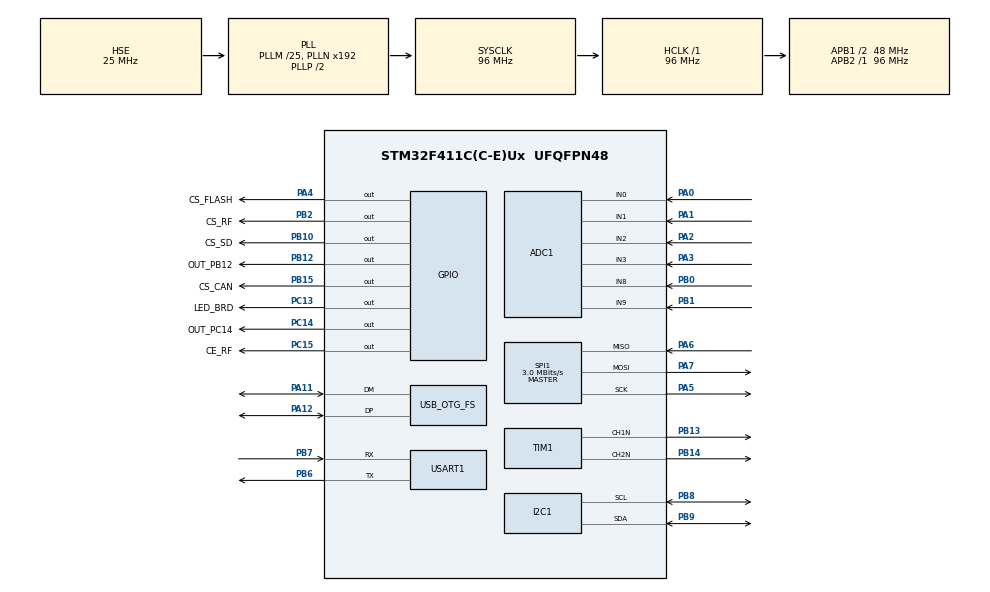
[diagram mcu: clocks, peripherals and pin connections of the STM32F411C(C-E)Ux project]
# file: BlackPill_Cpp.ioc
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ADC1.Channel-0\#ChannelRegularConversion=ADC_CHANNEL_0
ADC1.Channel-1\#ChannelRegularConversion=ADC_CHANNEL_1
ADC1.Channel-2\#ChannelRegularConversion=ADC_CHANNEL_2
ADC1.Channel-3\#ChannelRegularConversion=ADC_CHANNEL_3
ADC1.Channel-4\#ChannelRegularConversion=ADC_CHANNEL_8
ADC1.Channel-5\#ChannelRegularConversion=ADC_CHANNEL_9
ADC1.Channel-6\#ChannelRegularConversion=ADC_CHANNEL_VBAT
ADC1.InjNumberOfConversion=0
ADC1.NbrOfConversion=7
ADC1.NbrOfConversionFlag=1
ADC1.Rank-0\#ChannelRegularConversion=1
ADC1.Rank-1\#ChannelRegularConversion=2
ADC1.Rank-2\#ChannelRegularConversion=3
ADC1.Rank-3\#ChannelRegularConversion=4
ADC1.Rank-4\#ChannelRegularConversion=5
ADC1.Rank-5\#ChannelRegularConversion=6
ADC1.Rank-6\#ChannelRegularConversion=7
ADC1.SamplingTime-0\#ChannelRegularConversion=ADC_SAMPLETIME_28CYCLES
ADC1.SamplingTime-1\#ChannelRegularConversion=ADC_SAMPLETIME_28CYCLES
ADC1.SamplingTime-2\#ChannelRegularConversion=ADC_SAMPLETIME_28CYCLES
ADC1.SamplingTime-3\#ChannelRegularConversion=ADC_SAMPLETIME_28CYCLES
ADC1.SamplingTime-4\#ChannelRegularConversion=ADC_SAMPLETIME_28CYCLES
ADC1.SamplingTime-5\#ChannelRegularConversion=ADC_SAMPLETIME_28CYCLES
ADC1.SamplingTime-6\#ChannelRegularConversion=ADC_SAMPLETIME_84CYCLES
ADC1.master=1
Dma.ADC1.0.Direction=DMA_PERIPH_TO_MEMORY
Dma.ADC1.0.FIFOMode=DMA_FIFOMODE_DISABLE
Dma.ADC1.0.Instance=DMA2_Stream4
Dma.ADC1.0.MemDataAlignment=DMA_MDATAALIGN_HALFWORD
Dma.ADC1.0.MemInc=DMA_MINC_ENABLE
Dma.ADC1.0.Mode=DMA_CIRCULAR
Dma.ADC1.0.PeriphDataAlignment=DMA_PDATAALIGN_HALFWORD
Dma.ADC1.0.PeriphInc=DMA_PINC_DISABLE
Dma.ADC1.0.Priority=DMA_PRIORITY_MEDIUM
Dma.Request0=ADC1
Dma.Request1=USART1_RX
Dma.Request2=USART1_TX
Dma.Request3=SPI1_TX
Dma.Request4=SPI1_RX
Dma.SPI1_RX.4.Direction=DMA_PERIPH_TO_MEMORY
Dma.SPI1_RX.4.FIFOMode=DMA_FIFOMODE_DISABLE
Dma.SPI1_RX.4.Instance=DMA2_Stream0
Dma.SPI1_RX.4.MemDataAlignment=DMA_MDATAALIGN_BYTE
Dma.SPI1_RX.4.MemInc=DMA_MINC_ENABLE
Dma.SPI1_RX.4.Mode=DMA_NORMAL
Dma.SPI1_RX.4.PeriphDataAlignment=DMA_PDATAALIGN_BYTE
Dma.SPI1_RX.4.PeriphInc=DMA_PINC_DISABLE
Dma.SPI1_RX.4.Priority=DMA_PRIORITY_LOW
Dma.SPI1_TX.3.Direction=DMA_MEMORY_TO_PERIPH
Dma.SPI1_TX.3.FIFOMode=DMA_FIFOMODE_DISABLE
Dma.SPI1_TX.3.Instance=DMA2_Stream3
Dma.SPI1_TX.3.MemDataAlignment=DMA_MDATAALIGN_BYTE
Dma.SPI1_TX.3.MemInc=DMA_MINC_ENABLE
Dma.SPI1_TX.3.Mode=DMA_NORMAL
Dma.SPI1_TX.3.PeriphDataAlignment=DMA_PDATAALIGN_BYTE
Dma.SPI1_TX.3.PeriphInc=DMA_PINC_DISABLE
Dma.SPI1_TX.3.Priority=DMA_PRIORITY_LOW
Dma.USART1_RX.1.Direction=DMA_PERIPH_TO_MEMORY
Dma.USART1_RX.1.FIFOMode=DMA_FIFOMODE_DISABLE
Dma.USART1_RX.1.Instance=DMA2_Stream2
Dma.USART1_RX.1.MemDataAlignment=DMA_MDATAALIGN_BYTE
Dma.USART1_RX.1.MemInc=DMA_MINC_ENABLE
Dma.USART1_RX.1.Mode=DMA_NORMAL
Dma.USART1_RX.1.PeriphDataAlignment=DMA_PDATAALIGN_BYTE
Dma.USART1_RX.1.PeriphInc=DMA_PINC_DISABLE
Dma.USART1_RX.1.Priority=DMA_PRIORITY_HIGH
Dma.USART1_TX.2.Direction=DMA_MEMORY_TO_PERIPH
Dma.USART1_TX.2.FIFOMode=DMA_FIFOMODE_DISABLE
Dma.USART1_TX.2.Instance=DMA2_Stream7
Dma.USART1_TX.2.MemDataAlignment=DMA_MDATAALIGN_BYTE
Dma.USART1_TX.2.MemInc=DMA_MINC_ENABLE
Dma.USART1_TX.2.Mode=DMA_NORMAL
Dma.USART1_TX.2.PeriphDataAlignment=DMA_PDATAALIGN_BYTE
Dma.USART1_TX.2.PeriphInc=DMA_PINC_DISABLE
Dma.USART1_TX.2.Priority=DMA_PRIORITY_LOW
FREERTOS.Events01=eventEspReceive,Static,myEvent01ControlBlock
FREERTOS.Tasks01=Taks10ms,24,128,StartTask10ms,Default,NULL,Static,Taks10msBuffer,Taks10msControlBlock;Task100ms,24,128,StartTask100ms,Default,NULL,Static,Task100msBuffer,Task100msControlBlock;TaskAsync,8,128,StartTaskAsync,Default,NULL,Static,TaskAsyncBuffer,TaskAsyncControlBlock
FREERTOS.configUSE_NEWLIB_REENTRANT=0
Mcu.Family=STM32F4
Mcu.Name=STM32F411C(C-E)Ux
Mcu.Package=UFQFPN48
Mcu.UserConstants=ESP_AT_REPORT_EVENT_FLAG_MASK,0x00000001uL;USB_EVENT_FLAG_MASK,0x00000004uL;ESP_AT_RESPONSE_EVENT_FLAG_MASK,0x00000002uL
NVIC.DMA2_Stream0_IRQn=true\:5\:0\:false\:false\:true\:true\:false\:true\:true
NVIC.DMA2_Stream2_IRQn=true\:5\:0\:false\:false\:true\:true\:false\:true\:true
NVIC.DMA2_Stream3_IRQn=true\:5\:0\:false\:false\:true\:true\:false\:true\:true
NVIC.DMA2_Stream4_IRQn=true\:5\:0\:false\:false\:true\:true\:false\:true\:true
NVIC.DMA2_Stream7_IRQn=true\:5\:0\:false\:false\:true\:true\:false\:true\:true
NVIC.OTG_FS_IRQn=true\:5\:0\:false\:false\:true\:true\:false\:true\:true
NVIC.PriorityGroup=NVIC_PRIORITYGROUP_4
NVIC.TIM1_UP_TIM10_IRQn=true\:15\:0\:false\:false\:true\:false\:false\:true\:true
NVIC.TimeBase=TIM1_UP_TIM10_IRQn
NVIC.TimeBaseIP=TIM10
NVIC.USART1_IRQn=true\:5\:0\:false\:false\:true\:true\:true\:true\:true
PA0-WKUP.Signal=ADCx_IN0
PA1.Signal=ADCx_IN1
PA11.Mode=Device_Only
PA11.Signal=USB_OTG_FS_DM
PA12.Mode=Device_Only
PA12.Signal=USB_OTG_FS_DP
PA13.Mode=Serial_Wire
PA13.Signal=SYS_JTMS-SWDIO
PA14.Mode=Serial_Wire
PA14.Signal=SYS_JTCK-SWCLK
PA2.Signal=ADCx_IN2
PA3.Signal=ADCx_IN3
PA4.GPIO_Label=CS_FLASH
PA4.PinState=GPIO_PIN_SET
PA4.Signal=GPIO_Output
PA5.Mode=Full_Duplex_Master
PA5.Signal=SPI1_SCK
PA6.Mode=Full_Duplex_Master
PA6.Signal=SPI1_MISO
PA7.Mode=Full_Duplex_Master
PA7.Signal=SPI1_MOSI
PB0.Signal=ADCx_IN8
PB1.Signal=ADCx_IN9
PB10.GPIO_Label=CS_SD
PB10.PinState=GPIO_PIN_SET
PB10.Signal=GPIO_Output
PB12.GPIO_Label=OUT_PB12
PB12.PinState=GPIO_PIN_RESET
PB12.Signal=GPIO_Output
PB13.Mode=PWM Generation1 CH1N
PB13.Signal=TIM1_CH1N
PB14.Mode=PWM Generation2 CH2N
PB14.Signal=TIM1_CH2N
PB15.GPIO_Label=CS_CAN
PB15.PinState=GPIO_PIN_SET
PB15.Signal=GPIO_Output
PB2.GPIO_Label=CS_RF
PB2.PinState=GPIO_PIN_SET
PB2.Signal=GPIO_Output
PB6.Mode=Asynchronous
PB6.Signal=USART1_TX
PB7.Mode=Asynchronous
PB7.Signal=USART1_RX
PB8.Mode=I2C
PB8.Signal=I2C1_SCL
PB9.Mode=I2C
PB9.Signal=I2C1_SDA
PC13-ANTI_TAMP.GPIO_Label=LED_BRD
PC13-ANTI_TAMP.Signal=GPIO_Output
PC14-OSC32_IN.GPIO_Label=OUT_PC14
PC14-OSC32_IN.Signal=GPIO_Output
PC15-OSC32_OUT.GPIO_Label=CE_RF
PC15-OSC32_OUT.Signal=GPIO_Output
PH0\ -\ OSC_IN.Mode=HSE-External-Oscillator
PH0\ -\ OSC_IN.Signal=RCC_OSC_IN
PH1\ -\ OSC_OUT.Mode=HSE-External-Oscillator
PH1\ -\ OSC_OUT.Signal=RCC_OSC_OUT
ProjectManager.HeapSize=0x400
ProjectManager.StackSize=0x800
ProjectManager.TargetToolchain=CMake
RCC.48MHZClocksFreq_Value=48000000
RCC.AHBFreq_Value=96000000
RCC.APB1CLKDivider=RCC_HCLK_DIV2
RCC.APB1Freq_Value=48000000
RCC.APB1TimFreq_Value=96000000
RCC.APB2Freq_Value=96000000
RCC.APB2TimFreq_Value=96000000
RCC.CortexFreq_Value=96000000
RCC.HCLKFreq_Value=96000000
RCC.HSE_VALUE=25000000
RCC.HSI_VALUE=16000000
RCC.LSE_VALUE=32768
RCC.PLLM=25
RCC.SYSCLKFreq_VALUE=96000000
RCC.SYSCLKSource=RCC_SYSCLKSOURCE_PLLCLK
RCC.VCOOutputFreq_Value=192000000
SH.ADCx_IN0.0=ADC1_IN0,IN0
SH.ADCx_IN1.0=ADC1_IN1,IN1
SH.ADCx_IN2.0=ADC1_IN2,IN2
SH.ADCx_IN3.0=ADC1_IN3,IN3
SH.ADCx_IN8.0=ADC1_IN8,IN8
SH.ADCx_IN9.0=ADC1_IN9,IN9
SPI1.BaudRatePrescaler=SPI_BAUDRATEPRESCALER_32
SPI1.CalculateBaudRate=3.0 MBits/s
SPI1.Direction=SPI_DIRECTION_2LINES
SPI1.Mode=SPI_MODE_MASTER
SPI1.VirtualType=VM_MASTER
TIM1.Channel-PWM\ Generation1\ CH1N=TIM_CHANNEL_1
TIM1.Channel-PWM\ Generation2\ CH2N=TIM_CHANNEL_2
USART1.VirtualMode=VM_ASYNC
USB_DEVICE.CLASS_NAME_FS=CDC
USB_DEVICE.VirtualMode=Cdc
USB_DEVICE.VirtualModeFS=Cdc_FS
USB_OTG_FS.VirtualMode=Device_Only
VP_ADC1_Vbat_Input.Mode=IN-Vbat
VP_FREERTOS_VS_CMSIS_V2.Mode=CMSIS_V2
VP_RTC_VS_RTC_Activate.Mode=RTC_Enabled
VP_RTC_VS_RTC_Calendar.Mode=RTC_Calendar
VP_SYS_VS_tim10.Mode=TIM10
VP_TIM1_VS_ClockSourceINT.Mode=Internal
VP_USB_DEVICE_VS_USB_DEVICE_CDC_FS.Mode=CDC_FS
board=custom

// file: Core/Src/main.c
/* USER CODE BEGIN Header */
/**
  ******************************************************************************
  * @file           : main.c
  * @brief          : Main program body
  ******************************************************************************
  * @attention
  *
  * Copyright (c) 2023 STMicroelectronics.
  * All rights reserved.
  *
  * This software is licensed under terms that can be found in the LICENSE file
  * in the root directory of this software component.
  * If no LICENSE file comes with this software, it is provided AS-IS.
  *
  ******************************************************************************
  */
/* USER CODE END Header */
#include "main.h"
#include "cmsis_os.h"
#include "usb_device.h"

/* USER CODE BEGIN Includes */
#include "mcp23s17.h"
#include "pca9685pw.h"
#include "max30100.h"
#include "esp8266_at.h"
#include <string.h>
#include "bme280.h"
#include "flash.h"
#include "usb_device.h"
#include "usbd_cdc_if.h"
#include "pc_uart_handler.h"
#include "ds1307.h"
#include "mcp2515.h"
//#include "spi_module.h"
#include "nrf24l01.h"
/* USER CODE END Includes */

typedef StaticTask_t osStaticThreadDef_t;
typedef StaticEventGroup_t osStaticEventGroupDef_t;

/* USER CODE BEGIN PM */
#define ESP_UART_DMA_BUFFER_SIZE 1024u
#define ESP_RX_BUFFER_SIZE       4096u

//#define ESP_EVENT_FLAG_MASK   0x00000001uL
/* USER CODE END PM */

ADC_HandleTypeDef hadc1;
DMA_HandleTypeDef hdma_adc1;

I2C_HandleTypeDef hi2c1;

RTC_HandleTypeDef hrtc;

SPI_HandleTypeDef hspi1;
DMA_HandleTypeDef hdma_spi1_tx;
DMA_HandleTypeDef hdma_spi1_rx;

TIM_HandleTypeDef htim1;

UART_HandleTypeDef huart1;
DMA_HandleTypeDef hdma_usart1_rx;
DMA_HandleTypeDef hdma_usart1_tx;

/* Definitions for Taks10ms */
osThreadId_t Taks10msHandle;
uint32_t Taks10msBuffer[ 128 ];
osStaticThreadDef_t Taks10msControlBlock;
const osThreadAttr_t Taks10ms_attributes = {
  .name = "Taks10ms",
  .cb_mem = &Taks10msControlBlock,
  .cb_size = sizeof(Taks10msControlBlock),
  .stack_mem = &Taks10msBuffer[0],
  .stack_size = sizeof(Taks10msBuffer),
  .priority = (osPriority_t) osPriorityNormal,
};
/* Definitions for Task100ms */
osThreadId_t Task100msHandle;
uint32_t Task100msBuffer[ 128 ];
osStaticThreadDef_t Task100msControlBlock;
const osThreadAttr_t Task100ms_attributes = {
  .name = "Task100ms",
  .cb_mem = &Task100msControlBlock,
  .cb_size = sizeof(Task100msControlBlock),
  .stack_mem = &Task100msBuffer[0],
  .stack_size = sizeof(Task100msBuffer),
  .priority = (osPriority_t) osPriorityNormal,
};
/* Definitions for TaskAsync */
osThreadId_t TaskAsyncHandle;
uint32_t TaskAsyncBuffer[ 128 ];
osStaticThreadDef_t TaskAsyncControlBlock;
const osThreadAttr_t TaskAsync_attributes = {
  .name = "TaskAsync",
  .cb_mem = &TaskAsyncControlBlock,
  .cb_size = sizeof(TaskAsyncControlBlock),
  .stack_mem = &TaskAsyncBuffer[0],
  .stack_size = sizeof(TaskAsyncBuffer),
  .priority = (osPriority_t) osPriorityLow,
};
/* Definitions for eventEspReceive */
osEventFlagsId_t eventEspReceiveHandle;
osStaticEventGroupDef_t myEvent01ControlBlock;
const osEventFlagsAttr_t eventEspReceive_attributes = {
  .name = "eventEspReceive",
  .cb_mem = &myEvent01ControlBlock,
  .cb_size = sizeof(myEvent01ControlBlock),
};
/* USER CODE BEGIN PV */

PCA9685_Handler_t LedDriverHandle = { .ptrHI2c = &hi2c1, .portOE = OUT_PB12_GPIO_Port, .pinOE = OUT_PB12_Pin, .Address = 0x80u };

MCP2515_Handler_t MCP2515Handle = { .ptrHSpi = &hspi1, .portCS = CS_CAN_GPIO_Port, .pinCS = CS_CAN_Pin };

DS1307_Handler_t  DS1307_Handle = { .ptrHI2c = &hi2c1, .Address = 0xD0u };
DS1307_TimeDate_t DS1307_InitDateTime = { .Seconds = 0u, .Minutes = 0x37u, .Hours = 0x09u, .Day = 6u, .Date = 4u, .Month = 3u, .Year = 0x23u };
DS1307_TimeDate_t DS1307_DateTime;

FLASH_Handler_t FlashHandler;

NRF24L01_Handler_t RFHandler =
{
  .ptrHSpi = &hspi1,
  .portCS  = CS_RF_GPIO_Port,
  .pinCS   = CS_RF_Pin,
  .portCE  = CE_RF_GPIO_Port,
  .pinCE   = CE_RF_Pin
};

uint8_t EspDmaBuffer[ESP_UART_DMA_BUFFER_SIZE];
uint8_t EspRxBuffer[ESP_RX_BUFFER_SIZE];

uint16_t oldPos = 0;
uint16_t newPos = 0;

bool  ESP_ResponseOK = 0u;
bool  ESP_MessageReceived = false;

volatile uint16_t ADC_RawData[7u] = {0u};
float ADC_Voltage[7u];

uint8_t UsbCdcRxBuffer[256u];
uint8_t UsbCdcTxBuffer[256u];

/* USER CODE END PV */

void SystemClock_Config(void);
static void MX_GPIO_Init(void);
static void MX_DMA_Init(void);
static void MX_ADC1_Init(void);
static void MX_SPI1_Init(void);
static void MX_I2C1_Init(void);
static void MX_USART1_UART_Init(void);
static void MX_TIM1_Init(void);
static void MX_RTC_Init(void);
void StartTask10ms(void *argument);
void StartTask100ms(void *argument);
void StartTaskAsync(void *argument);

/* USER CODE BEGIN 0 */
void HAL_UARTEx_RxEventCallback(UART_HandleTypeDef *huart, uint16_t Size)
{
  ESP_ResponseOK = false;
  if (huart->Instance == USART1)
  {
    /* Check if it is an OK: dont need to copy, just set the acknowledge flag  */
    if( !(strncmp((const char*)EspDmaBuffer, "\r\nOK\r\n", 6)) )
    {
      ESP_ResponseOK = true;
      ESP8266_SetOkResponseFlag(true);
    }
    else
    {
      oldPos = newPos;  // Update the last position before copying new data

      /* If the data in large and it is about to exceed the buffer size, we have to route it to the start of the buffer
       * This is to maintain the circular buffer
       * The old data in the main buffer will be overlapped
       */
      if (oldPos+Size > ESP_RX_BUFFER_SIZE)  // If the current position + new data size is greater than the main buffer
      {
        uint16_t datatocopy = ESP_RX_BUFFER_SIZE-oldPos;  // find out how much space is left in the main buffer
        memcpy ((uint8_t *)EspRxBuffer+oldPos, EspDmaBuffer, datatocopy);  // copy data in that remaining space

        oldPos = 0;  // point to the start of the buffer
        memcpy ((uint8_t *)EspRxBuffer, (uint8_t *)EspDmaBuffer+datatocopy, (Size-datatocopy));  // copy the remaining data
        newPos = (Size-datatocopy);  // update the position
      }

      /* if the current position + new data size is less than the main buffer
       * we will simply copy the data into the buffer and update the position
       */
      else
      {
        memcpy ((uint8_t *)EspRxBuffer+oldPos, EspDmaBuffer, Size);
        newPos = Size+oldPos;
      }
    }

    /* start the DMA again */
    HAL_UARTEx_ReceiveToIdle_DMA(&huart1, (uint8_t *) EspDmaBuffer, ESP_UART_DMA_BUFFER_SIZE);
    __HAL_DMA_DISABLE_IT(&hdma_usart1_rx, DMA_IT_HT);
    __HAL_DMA_DISABLE_IT(&hdma_usart1_tx, DMA_IT_HT);

    if( ESP_ResponseOK == false )
    {
      ESP_MessageReceived = true;
      if( ESP8266_GetLastAtCmd() != ESP8266_CMD_ID_NONE )
      {
        osEventFlagsSet(eventEspReceiveHandle, ESP_AT_RESPONSE_EVENT_FLAG_MASK);
      }
      else
      {
        osEventFlagsSet(eventEspReceiveHandle, ESP_AT_REPORT_EVENT_FLAG_MASK);
      }
    }
  }
}

#if (HAL_SPI_DMA == 1)
void HAL_SPI_TxCpltCallback(SPI_HandleTypeDef * hspi)
{
  HAL_GPIO_WritePin(OUT_PC14_GPIO_Port, OUT_PC14_Pin, GPIO_PIN_SET);
}

void HAL_SPI_RxCpltCallback(SPI_HandleTypeDef *hspi)
{
  HAL_GPIO_WritePin(OUT_PC14_GPIO_Port, OUT_PC14_Pin, GPIO_PIN_SET);
}

void HAL_SPI_TxRxCpltCallback(SPI_HandleTypeDef *hspi)
{
  HAL_GPIO_WritePin(OUT_PC14_GPIO_Port, OUT_PC14_Pin, GPIO_PIN_SET);
}
#endif
/* USER CODE END 0 */

int main(void)
{

  /* MCU Configuration--------------------------------------------------------*/

  /* Reset of all peripherals, Initializes the Flash interface and the Systick. */
  HAL_Init();

  /* Configure the system clock */
  SystemClock_Config();

  /* Initialize all configured peripherals */
  MX_GPIO_Init();
  MX_DMA_Init();
  MX_ADC1_Init();
  MX_SPI1_Init();
  MX_I2C1_Init();
  MX_USART1_UART_Init();
  MX_TIM1_Init();
  MX_RTC_Init();
  /* USER CODE BEGIN 2 */

  //DS1307_Init(&DS1307_Handle, &DS1307_InitDateTime);
  BME280_Detect();
  BME280_StartMeasurement(Oversampling1, Oversampling1, Oversampling1);
  MAX30100_Init();
  PCA9685_ReadModeRegs(&LedDriverHandle);
  NRF24L01_Init(&RFHandler);
  //MCP2515_Init(&MCP2515Handle);
#if (USE_SPI_MODULE == 1)
  SPIMODULE_Init(&hspi1, OUT_PC14_GPIO_Port, OUT_PC14_Pin );
#endif
  //ESP8266_Init(&huart1, EspRxBuffer);
  HAL_Delay(10u);
  HAL_UARTEx_ReceiveToIdle_DMA(&huart1, EspDmaBuffer, ESP_UART_DMA_BUFFER_SIZE);
  __HAL_DMA_DISABLE_IT(&hdma_usart1_rx, DMA_IT_HT);
  __HAL_DMA_DISABLE_IT(&hdma_usart1_tx, DMA_IT_HT);
  __HAL_DMA_DISABLE_IT(&hdma_spi1_tx, DMA_IT_HT);
  __HAL_DMA_DISABLE_IT(&hdma_spi1_rx, DMA_IT_HT);
  /* USER CODE END 2 */

  /* Init scheduler */
  osKernelInitialize();

  /* Create the thread(s) */
  /* creation of Taks10ms */
  Taks10msHandle = osThreadNew(StartTask10ms, NULL, &Taks10ms_attributes);

  /* creation of Task100ms */
  Task100msHandle = osThreadNew(StartTask100ms, NULL, &Task100ms_attributes);

  /* creation of TaskAsync */
  TaskAsyncHandle = osThreadNew(StartTaskAsync, NULL, &TaskAsync_attributes);

  /* Create the event(s) */
  /* creation of eventEspReceive */
  eventEspReceiveHandle = osEventFlagsNew(&eventEspReceive_attributes);

  /* Start scheduler */
  osKernelStart();

  /* We should never get here as control is now taken by the scheduler */
  /* Infinite loop */
  while (1)
  {

  }
}

void SystemClock_Config(void)
{
  RCC_OscInitTypeDef RCC_OscInitStruct = {0};
  RCC_ClkInitTypeDef RCC_ClkInitStruct = {0};

  /** Configure the main internal regulator output voltage
  */
  __HAL_RCC_PWR_CLK_ENABLE();
  __HAL_PWR_VOLTAGESCALING_CONFIG(PWR_REGULATOR_VOLTAGE_SCALE1);

  /** Initializes the RCC Oscillators according to the specified parameters
  * in the RCC_OscInitTypeDef structure.
  */
  RCC_OscInitStruct.OscillatorType = RCC_OSCILLATORTYPE_LSI|RCC_OSCILLATORTYPE_HSE;
  RCC_OscInitStruct.HSEState = RCC_HSE_ON;
  RCC_OscInitStruct.LSIState = RCC_LSI_ON;
  RCC_OscInitStruct.PLL.PLLState = RCC_PLL_ON;
  RCC_OscInitStruct.PLL.PLLSource = RCC_PLLSOURCE_HSE;
  RCC_OscInitStruct.PLL.PLLM = 25;
  RCC_OscInitStruct.PLL.PLLN = 192;
  RCC_OscInitStruct.PLL.PLLP = RCC_PLLP_DIV2;
  RCC_OscInitStruct.PLL.PLLQ = 4;
  if (HAL_RCC_OscConfig(&RCC_OscInitStruct) != HAL_OK)
  {
    Error_Handler();
  }

  /** Initializes the CPU, AHB and APB buses clocks
  */
  RCC_ClkInitStruct.ClockType = RCC_CLOCKTYPE_HCLK|RCC_CLOCKTYPE_SYSCLK
                              |RCC_CLOCKTYPE_PCLK1|RCC_CLOCKTYPE_PCLK2;
  RCC_ClkInitStruct.SYSCLKSource = RCC_SYSCLKSOURCE_PLLCLK;
  RCC_ClkInitStruct.AHBCLKDivider = RCC_SYSCLK_DIV1;
  RCC_ClkInitStruct.APB1CLKDivider = RCC_HCLK_DIV2;
  RCC_ClkInitStruct.APB2CLKDivider = RCC_HCLK_DIV1;

  if (HAL_RCC_ClockConfig(&RCC_ClkInitStruct, FLASH_LATENCY_3) != HAL_OK)
  {
    Error_Handler();
  }
}

static void MX_ADC1_Init(void)
{

  ADC_ChannelConfTypeDef sConfig = {0};

  /** Configure the global features of the ADC (Clock, Resolution, Data Alignment and number of conversion)
  */
  hadc1.Instance = ADC1;
  hadc1.Init.ClockPrescaler = ADC_CLOCK_SYNC_PCLK_DIV4;
  hadc1.Init.Resolution = ADC_RESOLUTION_12B;
  hadc1.Init.ScanConvMode = ENABLE;
  hadc1.Init.ContinuousConvMode = DISABLE;
  hadc1.Init.DiscontinuousConvMode = DISABLE;
  hadc1.Init.ExternalTrigConvEdge = ADC_EXTERNALTRIGCONVEDGE_NONE;
  hadc1.Init.ExternalTrigConv = ADC_SOFTWARE_START;
  hadc1.Init.DataAlign = ADC_DATAALIGN_RIGHT;
  hadc1.Init.NbrOfConversion = 7;
  hadc1.Init.DMAContinuousRequests = DISABLE;
  hadc1.Init.EOCSelection = ADC_EOC_SINGLE_CONV;
  if (HAL_ADC_Init(&hadc1) != HAL_OK)
  {
    Error_Handler();
  }

  /** Configure for the selected ADC regular channel its corresponding rank in the sequencer and its sample time.
  */
  sConfig.Channel = ADC_CHANNEL_0;
  sConfig.Rank = 1;
  sConfig.SamplingTime = ADC_SAMPLETIME_28CYCLES;
  if (HAL_ADC_ConfigChannel(&hadc1, &sConfig) != HAL_OK)
  {
    Error_Handler();
  }

  /** Configure for the selected ADC regular channel its corresponding rank in the sequencer and its sample time.
  */
  sConfig.Channel = ADC_CHANNEL_1;
  sConfig.Rank = 2;
  if (HAL_ADC_ConfigChannel(&hadc1, &sConfig) != HAL_OK)
  {
    Error_Handler();
  }

  /** Configure for the selected ADC regular channel its corresponding rank in the sequencer and its sample time.
  */
  sConfig.Channel = ADC_CHANNEL_2;
  sConfig.Rank = 3;
  if (HAL_ADC_ConfigChannel(&hadc1, &sConfig) != HAL_OK)
  {
    Error_Handler();
  }

  /** Configure for the selected ADC regular channel its corresponding rank in the sequencer and its sample time.
  */
  sConfig.Channel = ADC_CHANNEL_3;
  sConfig.Rank = 4;
  if (HAL_ADC_ConfigChannel(&hadc1, &sConfig) != HAL_OK)
  {
    Error_Handler();
  }

  /** Configure for the selected ADC regular channel its corresponding rank in the sequencer and its sample time.
  */
  sConfig.Channel = ADC_CHANNEL_8;
  sConfig.Rank = 5;
  if (HAL_ADC_ConfigChannel(&hadc1, &sConfig) != HAL_OK)
  {
    Error_Handler();
  }

  /** Configure for the selected ADC regular channel its corresponding rank in the sequencer and its sample time.
  */
  sConfig.Channel = ADC_CHANNEL_9;
  sConfig.Rank = 6;
  if (HAL_ADC_ConfigChannel(&hadc1, &sConfig) != HAL_OK)
  {
    Error_Handler();
  }

  /** Configure for the selected ADC regular channel its corresponding rank in the sequencer and its sample time.
  */
  sConfig.Channel = ADC_CHANNEL_VBAT;
  sConfig.Rank = 7;
  sConfig.SamplingTime = ADC_SAMPLETIME_84CYCLES;
  if (HAL_ADC_ConfigChannel(&hadc1, &sConfig) != HAL_OK)
  {
    Error_Handler();
  }

}

static void MX_I2C1_Init(void)
{

  hi2c1.Instance = I2C1;
  hi2c1.Init.ClockSpeed = 100000;
  hi2c1.Init.DutyCycle = I2C_DUTYCYCLE_2;
  hi2c1.Init.OwnAddress1 = 0;
  hi2c1.Init.AddressingMode = I2C_ADDRESSINGMODE_7BIT;
  hi2c1.Init.DualAddressMode = I2C_DUALADDRESS_DISABLE;
  hi2c1.Init.OwnAddress2 = 0;
  hi2c1.Init.GeneralCallMode = I2C_GENERALCALL_DISABLE;
  hi2c1.Init.NoStretchMode = I2C_NOSTRETCH_DISABLE;
  if (HAL_I2C_Init(&hi2c1) != HAL_OK)
  {
    Error_Handler();
  }

}

static void MX_RTC_Init(void)
{

  RTC_TimeTypeDef sTime = {0};
  RTC_DateTypeDef sDate = {0};

  /** Initialize RTC Only
  */
  hrtc.Instance = RTC;
  hrtc.Init.HourFormat = RTC_HOURFORMAT_24;
  hrtc.Init.AsynchPrediv = 127;
  hrtc.Init.SynchPrediv = 255;
  hrtc.Init.OutPut = RTC_OUTPUT_DISABLE;
  hrtc.Init.OutPutPolarity = RTC_OUTPUT_POLARITY_HIGH;
  hrtc.Init.OutPutType = RTC_OUTPUT_TYPE_OPENDRAIN;
  if (HAL_RTC_Init(&hrtc) != HAL_OK)
  {
    Error_Handler();
  }

  /** Initialize RTC and set the Time and Date
  */
  sTime.Hours = 0x0;
  sTime.Minutes = 0x0;
  sTime.Seconds = 0x0;
  sTime.DayLightSaving = RTC_DAYLIGHTSAVING_NONE;
  sTime.StoreOperation = RTC_STOREOPERATION_RESET;
  if (HAL_RTC_SetTime(&hrtc, &sTime, RTC_FORMAT_BCD) != HAL_OK)
  {
    Error_Handler();
  }
  sDate.WeekDay = RTC_WEEKDAY_MONDAY;
  sDate.Month = RTC_MONTH_JANUARY;
  sDate.Date = 0x1;
  sDate.Year = 0x0;

  if (HAL_RTC_SetDate(&hrtc, &sDate, RTC_FORMAT_BCD) != HAL_OK)
  {
    Error_Handler();
  }

}

static void MX_SPI1_Init(void)
{

  /* SPI1 parameter configuration*/
  hspi1.Instance = SPI1;
  hspi1.Init.Mode = SPI_MODE_MASTER;
  hspi1.Init.Direction = SPI_DIRECTION_2LINES;
  hspi1.Init.DataSize = SPI_DATASIZE_8BIT;
  hspi1.Init.CLKPolarity = SPI_POLARITY_LOW;
  hspi1.Init.CLKPhase = SPI_PHASE_1EDGE;
  hspi1.Init.NSS = SPI_NSS_SOFT;
  hspi1.Init.BaudRatePrescaler = SPI_BAUDRATEPRESCALER_32;
  hspi1.Init.FirstBit = SPI_FIRSTBIT_MSB;
  hspi1.Init.TIMode = SPI_TIMODE_DISABLE;
  hspi1.Init.CRCCalculation = SPI_CRCCALCULATION_DISABLE;
  hspi1.Init.CRCPolynomial = 10;
  if (HAL_SPI_Init(&hspi1) != HAL_OK)
  {
    Error_Handler();
  }

}

static void MX_TIM1_Init(void)
{

  TIM_ClockConfigTypeDef sClockSourceConfig = {0};
  TIM_MasterConfigTypeDef sMasterConfig = {0};
  TIM_OC_InitTypeDef sConfigOC = {0};
  TIM_BreakDeadTimeConfigTypeDef sBreakDeadTimeConfig = {0};

  htim1.Instance = TIM1;
  htim1.Init.Prescaler = 0;
  htim1.Init.CounterMode = TIM_COUNTERMODE_UP;
  htim1.Init.Period = 65535;
  htim1.Init.ClockDivision = TIM_CLOCKDIVISION_DIV1;
  htim1.Init.RepetitionCounter = 0;
  htim1.Init.AutoReloadPreload = TIM_AUTORELOAD_PRELOAD_DISABLE;
  if (HAL_TIM_Base_Init(&htim1) != HAL_OK)
  {
    Error_Handler();
  }
  sClockSourceConfig.ClockSource = TIM_CLOCKSOURCE_INTERNAL;
  if (HAL_TIM_ConfigClockSource(&htim1, &sClockSourceConfig) != HAL_OK)
  {
    Error_Handler();
  }
  if (HAL_TIM_PWM_Init(&htim1) != HAL_OK)
  {
    Error_Handler();
  }
  sMasterConfig.MasterOutputTrigger = TIM_TRGO_RESET;
  sMasterConfig.MasterSlaveMode = TIM_MASTERSLAVEMODE_DISABLE;
  if (HAL_TIMEx_MasterConfigSynchronization(&htim1, &sMasterConfig) != HAL_OK)
  {
    Error_Handler();
  }
  sConfigOC.OCMode = TIM_OCMODE_PWM1;
  sConfigOC.Pulse = 0;
  sConfigOC.OCPolarity = TIM_OCPOLARITY_HIGH;
  sConfigOC.OCNPolarity = TIM_OCNPOLARITY_HIGH;
  sConfigOC.OCFastMode = TIM_OCFAST_DISABLE;
  sConfigOC.OCIdleState = TIM_OCIDLESTATE_RESET;
  sConfigOC.OCNIdleState = TIM_OCNIDLESTATE_RESET;
  if (HAL_TIM_PWM_ConfigChannel(&htim1, &sConfigOC, TIM_CHANNEL_1) != HAL_OK)
  {
    Error_Handler();
  }
  if (HAL_TIM_PWM_ConfigChannel(&htim1, &sConfigOC, TIM_CHANNEL_2) != HAL_OK)
  {
    Error_Handler();
  }
  sBreakDeadTimeConfig.OffStateRunMode = TIM_OSSR_DISABLE;
  sBreakDeadTimeConfig.OffStateIDLEMode = TIM_OSSI_DISABLE;
  sBreakDeadTimeConfig.LockLevel = TIM_LOCKLEVEL_OFF;
  sBreakDeadTimeConfig.DeadTime = 0;
  sBreakDeadTimeConfig.BreakState = TIM_BREAK_DISABLE;
  sBreakDeadTimeConfig.BreakPolarity = TIM_BREAKPOLARITY_HIGH;
  sBreakDeadTimeConfig.AutomaticOutput = TIM_AUTOMATICOUTPUT_DISABLE;
  if (HAL_TIMEx_ConfigBreakDeadTime(&htim1, &sBreakDeadTimeConfig) != HAL_OK)
  {
    Error_Handler();
  }
  HAL_TIM_MspPostInit(&htim1);

}

static void MX_USART1_UART_Init(void)
{

  huart1.Instance = USART1;
  huart1.Init.BaudRate = 115200;
  huart1.Init.WordLength = UART_WORDLENGTH_8B;
  huart1.Init.StopBits = UART_STOPBITS_1;
  huart1.Init.Parity = UART_PARITY_NONE;
  huart1.Init.Mode = UART_MODE_TX_RX;
  huart1.Init.HwFlowCtl = UART_HWCONTROL_NONE;
  huart1.Init.OverSampling = UART_OVERSAMPLING_16;
  if (HAL_UART_Init(&huart1) != HAL_OK)
  {
    Error_Handler();
  }

}

static void MX_DMA_Init(void)
{

  /* DMA controller clock enable */
  __HAL_RCC_DMA2_CLK_ENABLE();

  /* DMA interrupt init */
  /* DMA2_Stream0_IRQn interrupt configuration */
  HAL_NVIC_SetPriority(DMA2_Stream0_IRQn, 5, 0);
  HAL_NVIC_EnableIRQ(DMA2_Stream0_IRQn);
  /* DMA2_Stream2_IRQn interrupt configuration */
  HAL_NVIC_SetPriority(DMA2_Stream2_IRQn, 5, 0);
  HAL_NVIC_EnableIRQ(DMA2_Stream2_IRQn);
  /* DMA2_Stream3_IRQn interrupt configuration */
  HAL_NVIC_SetPriority(DMA2_Stream3_IRQn, 5, 0);
  HAL_NVIC_EnableIRQ(DMA2_Stream3_IRQn);
  /* DMA2_Stream4_IRQn interrupt configuration */
  HAL_NVIC_SetPriority(DMA2_Stream4_IRQn, 5, 0);
  HAL_NVIC_EnableIRQ(DMA2_Stream4_IRQn);
  /* DMA2_Stream7_IRQn interrupt configuration */
  HAL_NVIC_SetPriority(DMA2_Stream7_IRQn, 5, 0);
  HAL_NVIC_EnableIRQ(DMA2_Stream7_IRQn);

}

static void MX_GPIO_Init(void)
{
  GPIO_InitTypeDef GPIO_InitStruct = {0};

  /* GPIO Ports Clock Enable */
  __HAL_RCC_GPIOC_CLK_ENABLE();
  __HAL_RCC_GPIOH_CLK_ENABLE();
  __HAL_RCC_GPIOA_CLK_ENABLE();
  __HAL_RCC_GPIOB_CLK_ENABLE();

  /*Configure GPIO pin Output Level */
  HAL_GPIO_WritePin(GPIOC, LED_BRD_Pin|OUT_PC14_Pin|CE_RF_Pin, GPIO_PIN_RESET);

  /*Configure GPIO pin Output Level */
  HAL_GPIO_WritePin(CS_FLASH_GPIO_Port, CS_FLASH_Pin, GPIO_PIN_SET);

  /*Configure GPIO pin Output Level */
  HAL_GPIO_WritePin(GPIOB, CS_RF_Pin|CS_SD_Pin|CS_CAN_Pin, GPIO_PIN_SET);

  /*Configure GPIO pin Output Level */
  HAL_GPIO_WritePin(OUT_PB12_GPIO_Port, OUT_PB12_Pin, GPIO_PIN_RESET);

  /*Configure GPIO pins : LED_BRD_Pin OUT_PC14_Pin CE_RF_Pin */
  GPIO_InitStruct.Pin = LED_BRD_Pin|OUT_PC14_Pin|CE_RF_Pin;
  GPIO_InitStruct.Mode = GPIO_MODE_OUTPUT_PP;
  GPIO_InitStruct.Pull = GPIO_NOPULL;
  GPIO_InitStruct.Speed = GPIO_SPEED_FREQ_LOW;
  HAL_GPIO_Init(GPIOC, &GPIO_InitStruct);

  /*Configure GPIO pin : CS_FLASH_Pin */
  GPIO_InitStruct.Pin = CS_FLASH_Pin;
  GPIO_InitStruct.Mode = GPIO_MODE_OUTPUT_PP;
  GPIO_InitStruct.Pull = GPIO_NOPULL;
  GPIO_InitStruct.Speed = GPIO_SPEED_FREQ_LOW;
  HAL_GPIO_Init(CS_FLASH_GPIO_Port, &GPIO_InitStruct);

  /*Configure GPIO pins : CS_RF_Pin CS_SD_Pin OUT_PB12_Pin CS_CAN_Pin */
  GPIO_InitStruct.Pin = CS_RF_Pin|CS_SD_Pin|OUT_PB12_Pin|CS_CAN_Pin;
  GPIO_InitStruct.Mode = GPIO_MODE_OUTPUT_PP;
  GPIO_InitStruct.Pull = GPIO_NOPULL;
  GPIO_InitStruct.Speed = GPIO_SPEED_FREQ_LOW;
  HAL_GPIO_Init(GPIOB, &GPIO_InitStruct);

}

void StartTask10ms(void *argument)
{
  /* init code for USB_DEVICE */
  MX_USB_DEVICE_Init();
  /* USER CODE BEGIN 5 */
  /* Infinite loop */
  for(;;)
  {
    //SPIMODULE_DisplayCharTest();
    // Convert ADC raw data from last running
    for( uint16_t i = 0u; i < 7u; i++ )
    {
      ADC_Voltage[i] = (float)ADC_RawData[i] * 3.3f / 4096.0f;
    }
    HAL_ADC_Start_DMA(&hadc1, (uint32_t*)&ADC_RawData[0u], 7u);
    osDelay(5);
  }
  /* USER CODE END 5 */
}

/* USER CODE BEGIN Header_StartTask100ms */
/**
* @brief Function implementing the Task100ms thread.
* @param argument: Not used
* @retval None
*/
uint8_t Task100ms_LedCtr = 0u;
uint8_t DispState = 0u;
/* USER CODE END Header_StartTask100ms */
void StartTask100ms(void *argument)
{
  /* USER CODE BEGIN StartTask100ms */
  /* Infinite loop */
  for(;;)
  {
    Task100ms_LedCtr++;
    if( Task100ms_LedCtr == 5u)
    {
      HAL_GPIO_TogglePin(LED_BRD_GPIO_Port, LED_BRD_Pin);
      DS1307_Read_Time( &DS1307_Handle, &DS1307_DateTime.Seconds, &DS1307_DateTime.Minutes, &DS1307_DateTime.Hours );
      //PCA9685_ToggleOutputEnable(&LedDriverHandle);
      Task100ms_LedCtr = 0u;
      BME280_ReadMeasResult();
#if( USE_SPI_MODULE == 1 )
      SPIMODULE_UpdateDisplayTestValue();
      if( DispState == 0u)
      {
        //SPIMODULE_ToogleDisplay(DispState);
        DispState = 1u;
      }
      else
      {
        //SPIMODULE_ToogleDisplay(DispState);
        DispState = 0u;
      }
#endif
    }
    osDelay(100);
  }
  /* USER CODE END StartTask100ms */
}

void StartTaskAsync(void *argument)
{
  /* USER CODE BEGIN StartTaskAsync */
  uint32_t eventFlags = 0u;
  /* Infinite loop */
  for(;;)
  {
    eventFlags = osEventFlagsWait(eventEspReceiveHandle, ESP_AT_REPORT_EVENT_FLAG_MASK | ESP_AT_RESPONSE_EVENT_FLAG_MASK | USB_EVENT_FLAG_MASK, osFlagsWaitAny, osWaitForever);
    if( (eventFlags & ESP_AT_REPORT_EVENT_FLAG_MASK) == ESP_AT_REPORT_EVENT_FLAG_MASK )
    {
      // Process the incoming data that is not OK
      ESP8266_AtReportHandler(EspRxBuffer);
      osEventFlagsClear(eventEspReceiveHandle, ESP_AT_REPORT_EVENT_FLAG_MASK);
    }
    else if( (eventFlags & ESP_AT_RESPONSE_EVENT_FLAG_MASK) == ESP_AT_RESPONSE_EVENT_FLAG_MASK )
    {
      // Process the incoming data that is not OK
      ESP8266_AtResponseHandler(EspRxBuffer);
      osEventFlagsClear(eventEspReceiveHandle, ESP_AT_RESPONSE_EVENT_FLAG_MASK);
    }
    else if( (eventFlags & USB_EVENT_FLAG_MASK) == USB_EVENT_FLAG_MASK )
    {
      // Process the incoming data that is not OK
      (void)PCUART_ProcessRxCmd(UsbCdcRxBuffer, UsbCdcTxBuffer);
      // clear buffer
      memset(UsbCdcRxBuffer, 0, sizeof(UsbCdcRxBuffer));
      osEventFlagsClear(eventEspReceiveHandle, USB_EVENT_FLAG_MASK);
    }
    osDelay(1);
  }
  /* USER CODE END StartTaskAsync */
}

void HAL_TIM_PeriodElapsedCallback(TIM_HandleTypeDef *htim)
{
  if (htim->Instance == TIM10)
  {
    HAL_IncTick();
  }
}

void Error_Handler(void)
{
  __disable_irq();
  while (1)
  {
  }
}
